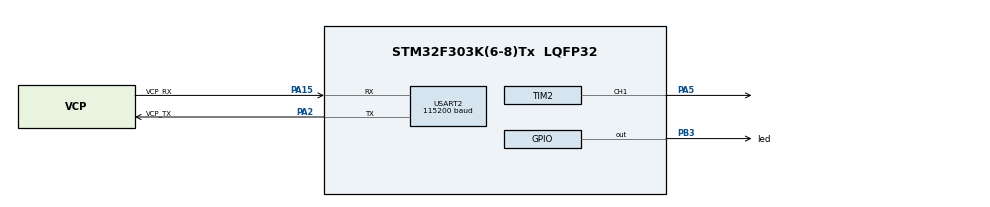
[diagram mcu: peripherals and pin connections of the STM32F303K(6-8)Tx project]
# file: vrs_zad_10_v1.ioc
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Dma.Request0=USART2_RX
Dma.Request1=USART2_TX
Dma.USART2_RX.0.Direction=DMA_PERIPH_TO_MEMORY
Dma.USART2_RX.0.Instance=DMA1_Channel6
Dma.USART2_RX.0.MemDataAlignment=DMA_MDATAALIGN_BYTE
Dma.USART2_RX.0.MemInc=DMA_MINC_ENABLE
Dma.USART2_RX.0.Mode=DMA_NORMAL
Dma.USART2_RX.0.PeriphDataAlignment=DMA_PDATAALIGN_BYTE
Dma.USART2_RX.0.PeriphInc=DMA_PINC_DISABLE
Dma.USART2_RX.0.Priority=DMA_PRIORITY_LOW
Dma.USART2_TX.1.Direction=DMA_MEMORY_TO_PERIPH
Dma.USART2_TX.1.Instance=DMA1_Channel7
Dma.USART2_TX.1.MemDataAlignment=DMA_MDATAALIGN_BYTE
Dma.USART2_TX.1.MemInc=DMA_MINC_ENABLE
Dma.USART2_TX.1.Mode=DMA_NORMAL
Dma.USART2_TX.1.PeriphDataAlignment=DMA_PDATAALIGN_BYTE
Dma.USART2_TX.1.PeriphInc=DMA_PINC_DISABLE
Dma.USART2_TX.1.Priority=DMA_PRIORITY_LOW
Mcu.Family=STM32F3
Mcu.Name=STM32F303K(6-8)Tx
Mcu.Package=LQFP32
NVIC.DMA1_Channel6_IRQn=true\:0\:0\:false\:false\:true\:false\:true
NVIC.DMA1_Channel7_IRQn=true\:0\:0\:false\:false\:true\:false\:true
NVIC.PriorityGroup=NVIC_PRIORITYGROUP_4
NVIC.TIM1_TRG_COM_TIM17_IRQn=true\:0\:0\:false\:false\:true\:true\:true
NVIC.TIM2_IRQn=true\:0\:0\:false\:false\:true\:true\:true
NVIC.USART2_IRQn=true\:0\:0\:false\:false\:true\:true\:true
PA13.GPIO_Label=SWDIO
PA13.Mode=Serial_Wire
PA13.Signal=SYS_JTMS-SWDIO
PA14.GPIO_Label=SWCLK
PA14.Mode=Serial_Wire
PA14.Signal=SYS_JTCK-SWCLK
PA15.GPIO_Label=VCP_RX
PA15.Mode=Asynchronous
PA15.Signal=USART2_RX
PA2.GPIO_Label=VCP_TX
PA2.Mode=Asynchronous
PA2.Signal=USART2_TX
PA5.Signal=S_TIM2_CH1_ETR
PB3.GPIO_Label=led
PB3.Signal=GPIO_Output
PF0\ /\ OSC_IN.GPIO_Label=MCO
PF0\ /\ OSC_IN.Mode=HSE-External-Clock-Source
PF0\ /\ OSC_IN.Signal=RCC_OSC_IN
ProjectManager.HeapSize=0x200
ProjectManager.StackSize=0x400
ProjectManager.TargetToolchain=STM32CubeIDE
RCC.AHBFreq_Value=8000000
RCC.APB1Freq_Value=8000000
RCC.APB2Freq_Value=8000000
RCC.CortexFreq_Value=8000000
RCC.HSE_VALUE=8000000
RCC.HSI_VALUE=8000000
RCC.SYSCLKFreq_VALUE=8000000
SH.S_TIM2_CH1_ETR.0=TIM2_CH1,PWM Generation1 CH1
TIM17.Period=999
TIM17.Prescaler=7999
TIM2.AutoReloadPreload=TIM_AUTORELOAD_PRELOAD_ENABLE
TIM2.Channel-PWM\ Generation1\ CH1=TIM_CHANNEL_1
TIM2.Period=99
TIM2.Prescaler=799
TIM2.Pulse-PWM\ Generation1\ CH1=50
USART2.BaudRate=115200
USART2.VirtualMode-Asynchronous=VM_ASYNC
VP_TIM17_VS_ClockSourceINT.Mode=Enable_Timer
VP_TIM2_VS_ClockSourceINT.Mode=Internal
board=NUCLEO-F303K8

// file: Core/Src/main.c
/* USER CODE BEGIN Header */
/**
  ******************************************************************************
  * @file           : main.c
  * @brief          : Main program body
  ******************************************************************************
  * @attention
  *
  * <h2><center>&copy; Copyright (c) 2020 STMicroelectronics.
  * All rights reserved.</center></h2>
  *
  * This software component is licensed by ST under BSD 3-Clause license,
  * the "License"; You may not use this file except in compliance with the
  * License. You may obtain a copy of the License at:
  *                        opensource.org/licenses/BSD-3-Clause
  *
  ******************************************************************************
  */
/* USER CODE END Header */
#include "main.h"

/* USER CODE BEGIN PV */
#define max_tx_buff_size 32
uint8_t tx_buff[max_tx_buff_size];
#define max_rx_buff_size 256
uint8_t rx_buff[max_rx_buff_size+1];
uint8_t temp_buff[20];
uint8_t* next_char=temp_buff;

uint8_t PWM_duty_cycle=0;
uint8_t PWM_duty_wish=0;

uint8_t mode = 0;
#define mode_1_sec 0x1
#define mode_rx_buff_full 0x2
#define mode_rx_buff_half 0x4
#define mode_rx_idle_read_data 0x8
#define mode_rx_half_was 0x10
#define mode_rx_full_was 0x20
#define mode_fade	0x40

uint8_t mode_2 = 0;
#define mode_2_manual 0x1
#define mode_2_auto 0x2
/* USER CODE END PV */

void SystemClock_Config(void);
static void MX_GPIO_Init(void);
static void MX_DMA_Init(void);
static void MX_USART2_UART_Init(void);
static void MX_TIM17_Init(void);
static void MX_TIM2_Init(void);

/* USER CODE BEGIN 0 */
void my_str_cpy(uint8_t *to,uint8_t *from, uint16_t *copied, uint16_t max_copied){
	uint16_t cnt;
	if (max_copied >=1)
		max_copied--;
	for (cnt=0;cnt<=255;cnt++)
	{
		*to=*from;
		if ((*from == '\0')||(cnt>=max_copied)){
			break;
		}
		else{
			to+=1;from+=1;
		}
	}
	*copied=cnt;
}

void inic_dma_tx(uint16_t length){
	  USART2->CR3 |= USART_CR3_DMAT; // set usart  TX with dma

	  DMA1_Channel7->CNDTR=length;// dma inic
	  DMA1_Channel7->CCR |= DMA_CCR_MINC | DMA_CCR_DIR | DMA_CCR_TCIE | DMA_CCR_CIRC;
	  DMA1_Channel7->CPAR=(uint32_t)&(USART2->TDR);
	  DMA1_Channel7->CMAR=(uint32_t)tx_buff;
}

void set_rx_dma_starting_point(uint16_t length){
	DMA1_Channel6->CCR &= ~DMA_CCR_EN;//stop listening
	DMA1_Channel6->CNDTR = length;
	DMA1_Channel6->CCR |= DMA_CCR_EN;//start listening
}

void inic_dma_rx_and_it_ilde(uint16_t length){
	  USART2->CR1 |=USART_CR1_IDLEIE;
	  NVIC_EnableIRQ(USART2_IRQn);

	  USART2->CR3 |= USART_CR3_DMAR; // set usart RX with dma
	  //DMA1_Channel6->CNDTR = length;
	  DMA1_Channel6->CCR |= DMA_CCR_PL_0 | DMA_CCR_MINC | DMA_CCR_HTIE | DMA_CCR_TCIE ;//| DMA_CCR_CIRC; //DMA_CCR_CIRC

	  DMA1_Channel6->CPAR=(uint32_t)&(USART2->RDR);
	  DMA1_Channel6->CMAR=(uint32_t)rx_buff;

	  set_rx_dma_starting_point(length);
	  //DMA1_Channel6->CCR |= DMA_CCR_EN;//start listening
}

void enable_dma_and_transmitt(uint16_t length){
	DMA1_Channel7->CCR &= ~DMA_CCR_EN;
	DMA1_Channel7->CNDTR=length;// dma inic
	DMA1_Channel7->CCR |= DMA_CCR_EN;	//start transmission

}

void start_tim17_with_IT(){
	  LL_TIM_EnableIT_UPDATE(TIM17);
	  TIM17->CR1 |= TIM_CR1_CEN; // start timer
}

void write_to_tx_buf_number(uint8_t *str,uint8_t num){
	uint8_t cnt=0;
	while(num>=10){
		cnt++;num-=10;
	}
	*str='0'+cnt;
	str+=1;
	*str='0'+num;
}

void tim_17_1_sec_delay(void){
	uint16_t temp;
	if (mode_2 & mode_2_manual){
		my_str_cpy(tx_buff,(uint8_t *)"1 sec delay: PWM: xx MAN\r",&temp,max_tx_buff_size);
	}
	if (mode_2 & mode_2_auto){
		my_str_cpy(tx_buff,(uint8_t *)"1 sec delay: PWM: xx AUTO\r",&temp,max_tx_buff_size);
	}
	write_to_tx_buf_number(&tx_buff[18],PWM_duty_cycle);

	enable_dma_and_transmitt(temp);
}

uint8_t my_str_cmp(uint8_t *str1, uint8_t *str2, uint8_t max){
	uint8_t cnt;
	for(cnt=0;cnt<=max;cnt++){
		if (*str1 != *str2)
			{return(0);}
		str1+=1;str2+=1;
	}
	return(255);
}

void setDutyCycle(uint8_t D){
	if ((D>=0) &&(D<=99)){
		PWM_duty_cycle=D;
		// to do: add to tim2->crr1
		TIM2->CCR1 = D;
	}

}

void test_input_data(uint16_t from, uint16_t to,uint8_t reset_dma){
	uint16_t cnt;
	uint8_t temp,temp_2;
	for(cnt=from;cnt<=to;cnt++){
		if (rx_buff[cnt] == '$'){
					temp=rx_buff[cnt+1];
					switch (temp){
						case 'm': {
							if (my_str_cmp(&rx_buff[cnt+2] , (uint8_t *)"anual$", 5)){
								mode_2 |= mode_2_manual;
								mode_2 &= ~mode_2_auto;
							}
							break;}
						case 'a': {
							if (my_str_cmp(&rx_buff[cnt+2] , (uint8_t *)"uto$", 3)){
								mode_2 |= mode_2_auto;
								mode_2 &= ~mode_2_manual;
							}
							break;}
						case 'P': {
							// only manual can chande pwm duty cycle
							if(mode_2 & mode_2_manual){
								if ((rx_buff[cnt+2] == 'W')&&(rx_buff[cnt+3] == 'M')&&(rx_buff[cnt+6] == '$')){
									temp=rx_buff[cnt+4];
									if ((temp <= '9')&&(temp >= '0')){
										temp_2=rx_buff[cnt+5];
										if ((temp_2 <= '9')&&(temp_2 >= '0')){
											temp-='0';
											temp_2-='0';
											//setDutyCycle(10*temp+temp_2);
											PWM_duty_wish=10*temp+temp_2;
										}
									}

								}
							}
							break;}
					}
				}
	}
	if(reset_dma){
		set_rx_dma_starting_point(max_rx_buff_size);
	}
}

void test_data(void){
	uint32_t dma_cnt;
	uint8_t *str,cnt;
	uint16_t copied;
	if ( ( (mode & mode_rx_full_was)==0x0 )&&( (mode & mode_rx_half_was)==0x0)&&(mode & mode_rx_idle_read_data) )
		{dma_cnt=max_rx_buff_size-DMA1_Channel6->CNDTR;
		 test_input_data(0,(uint8_t) dma_cnt,1);
		return;}
	if (mode & mode_rx_half_was){
		if ((mode & mode_rx_idle_read_data)==0){
			// arrived just half, we need to check all arrived data
			test_input_data(0,max_rx_buff_size>>1,0);
			// find '$' and copy
			str=&rx_buff[max_rx_buff_size>>1];
			for (cnt=0;cnt<=10;cnt++){
				if (*str=='$'){
					break;
				}
				str-=1;
			}
			// copy
			my_str_cpy(temp_buff,str, &copied, cnt);
			next_char=&temp_buff[cnt];

		}
		if (mode & mode_rx_idle_read_data){
			// half arrived, we need to check all arrived bytes

		}
	}
	if (mode & mode_rx_full_was){
		if(mode & mode_rx_idle_read_data){
			// to code: arrived 256 byte (tested 0:128) -> find '$' in
		}

	}
}

/* USER CODE END 0 */

int main(void)
{
  /* USER CODE BEGIN 1 */
	uint16_t temp;
	//uint32_t dma_cnt;
  /* USER CODE END 1 */

  /* MCU Configuration--------------------------------------------------------*/

  /* Reset of all peripherals, Initializes the Flash interface and the Systick. */

  LL_APB2_GRP1_EnableClock(LL_APB2_GRP1_PERIPH_SYSCFG);
  LL_APB1_GRP1_EnableClock(LL_APB1_GRP1_PERIPH_PWR);

  NVIC_SetPriorityGrouping(NVIC_PRIORITYGROUP_4);

  /* System interrupt init*/

  /* Configure the system clock */
  SystemClock_Config();

  /* Initialize all configured peripherals */
  MX_GPIO_Init();
  MX_DMA_Init();
  MX_USART2_UART_Init();
  MX_TIM17_Init();
  MX_TIM2_Init();
  /* USER CODE BEGIN 2 */
  my_str_cpy(tx_buff,(uint8_t *)"uC is ready\r",&temp,max_tx_buff_size);
  inic_dma_tx(temp);
  inic_dma_rx_and_it_ilde(max_rx_buff_size);
  enable_dma_and_transmitt(temp);

  start_tim17_with_IT();

  // pwm
  setDutyCycle(50);
  LL_TIM_CC_EnableChannel(TIM2, LL_TIM_CHANNEL_CH1);
  LL_TIM_EnableCounter(TIM2);
  LL_TIM_EnableIT_UPDATE(TIM2);
  NVIC_EnableIRQ(TIM2_IRQn);

  //LL_TIM_CC_EnableChannel(TIMx, Channels)

  /* USER CODE END 2 */

  /* Infinite loop */
  /* USER CODE BEGIN WHILE */
  mode=0;
  mode_2=0;
  mode_2 |= mode_2_auto;
  //mode_2 |= mode_2_manual;
  while (1)
  {
	  __WFI();
	  if(mode & mode_1_sec){
		  tim_17_1_sec_delay();
		  mode &= ~mode_1_sec;
	  }
	  if(mode & mode_rx_idle_read_data){
		  test_data();
		  //dma_cnt=max_rx_buff_size-DMA1_Channel6->CNDTR;
		  //test_input_data(0,(uint8_t) dma_cnt,1);
		  mode &= ~mode_rx_idle_read_data;
	  }
	  if(mode & mode_rx_buff_full){
		  mode |= mode_rx_full_was;
		  test_data();
		  // to code
		  //test_input_data(max_rx_buff_size>>1,(uint8_t) dma_cnt,1);

		  // maybe to code:[merge strings] find last '$'-> save from the last '$' to tempomary array ->
		  //	-> wait until data recieve WITH '$' -> find position of '$' in new array ->
		  //	-> merge tempomary array with new array[from 0 to position of '$'] -> and this need to be tested...

		  //tempomary code start
		  set_rx_dma_starting_point(max_rx_buff_size);
		  //tempomary code end
		  mode &=~ mode_rx_buff_full;
	  }
	  if (mode & mode_rx_buff_half){
		  mode |= mode_rx_half_was ;
		  test_data();
		  //test_input_data(0,(uint8_t) dma_cnt,0);
		  // we need to attach code with interrupt: not allways reading from 0, maybe we read from

		  // maybe to code:[merge strings] find last '$'-> save from the last '$' to tempomary array ->
		  //	-> wait until data recieve WITH '$' -> find position of '$' in new array ->
		  //	-> merge tempomary array with new array[from 0 to position of '$'] -> and this need to be tested...
	  }

    /* USER CODE END WHILE */

  }
}

void SystemClock_Config(void)
{
  LL_FLASH_SetLatency(LL_FLASH_LATENCY_0);
  while(LL_FLASH_GetLatency()!= LL_FLASH_LATENCY_0)
  {
  }
  LL_RCC_HSI_Enable();

   /* Wait till HSI is ready */
  while(LL_RCC_HSI_IsReady() != 1)
  {

  }
  LL_RCC_HSI_SetCalibTrimming(16);
  LL_RCC_SetAHBPrescaler(LL_RCC_SYSCLK_DIV_1);
  LL_RCC_SetAPB1Prescaler(LL_RCC_APB1_DIV_1);
  LL_RCC_SetAPB2Prescaler(LL_RCC_APB1_DIV_1);
  LL_RCC_SetSysClkSource(LL_RCC_SYS_CLKSOURCE_HSI);

   /* Wait till System clock is ready */
  while(LL_RCC_GetSysClkSource() != LL_RCC_SYS_CLKSOURCE_STATUS_HSI)
  {

  }
  LL_Init1msTick(8000000);
  LL_SetSystemCoreClock(8000000);
}

static void MX_TIM2_Init(void)
{

  LL_TIM_InitTypeDef TIM_InitStruct = {0};
  LL_TIM_OC_InitTypeDef TIM_OC_InitStruct = {0};

  LL_GPIO_InitTypeDef GPIO_InitStruct = {0};

  /* Peripheral clock enable */
  LL_APB1_GRP1_EnableClock(LL_APB1_GRP1_PERIPH_TIM2);

  /* TIM2 interrupt Init */
  NVIC_SetPriority(TIM2_IRQn, NVIC_EncodePriority(NVIC_GetPriorityGrouping(),0, 0));
  NVIC_EnableIRQ(TIM2_IRQn);

  TIM_InitStruct.Prescaler = 799;
  TIM_InitStruct.CounterMode = LL_TIM_COUNTERMODE_UP;
  TIM_InitStruct.Autoreload = 99;
  TIM_InitStruct.ClockDivision = LL_TIM_CLOCKDIVISION_DIV1;
  LL_TIM_Init(TIM2, &TIM_InitStruct);
  LL_TIM_EnableARRPreload(TIM2);
  LL_TIM_SetClockSource(TIM2, LL_TIM_CLOCKSOURCE_INTERNAL);
  LL_TIM_OC_EnablePreload(TIM2, LL_TIM_CHANNEL_CH1);
  TIM_OC_InitStruct.OCMode = LL_TIM_OCMODE_PWM1;
  TIM_OC_InitStruct.OCState = LL_TIM_OCSTATE_DISABLE;
  TIM_OC_InitStruct.OCNState = LL_TIM_OCSTATE_DISABLE;
  TIM_OC_InitStruct.CompareValue = 50;
  TIM_OC_InitStruct.OCPolarity = LL_TIM_OCPOLARITY_HIGH;
  LL_TIM_OC_Init(TIM2, LL_TIM_CHANNEL_CH1, &TIM_OC_InitStruct);
  LL_TIM_OC_DisableFast(TIM2, LL_TIM_CHANNEL_CH1);
  LL_TIM_SetTriggerOutput(TIM2, LL_TIM_TRGO_RESET);
  LL_TIM_DisableMasterSlaveMode(TIM2);
  LL_AHB1_GRP1_EnableClock(LL_AHB1_GRP1_PERIPH_GPIOA);
  /**TIM2 GPIO Configuration
  PA5   ------> TIM2_CH1
  */
  GPIO_InitStruct.Pin = LL_GPIO_PIN_5;
  GPIO_InitStruct.Mode = LL_GPIO_MODE_ALTERNATE;
  GPIO_InitStruct.Speed = LL_GPIO_SPEED_FREQ_LOW;
  GPIO_InitStruct.OutputType = LL_GPIO_OUTPUT_PUSHPULL;
  GPIO_InitStruct.Pull = LL_GPIO_PULL_NO;
  GPIO_InitStruct.Alternate = LL_GPIO_AF_1;
  LL_GPIO_Init(GPIOA, &GPIO_InitStruct);

}

static void MX_TIM17_Init(void)
{

  LL_TIM_InitTypeDef TIM_InitStruct = {0};

  /* Peripheral clock enable */
  LL_APB2_GRP1_EnableClock(LL_APB2_GRP1_PERIPH_TIM17);

  /* TIM17 interrupt Init */
  NVIC_SetPriority(TIM1_TRG_COM_TIM17_IRQn, NVIC_EncodePriority(NVIC_GetPriorityGrouping(),0, 0));
  NVIC_EnableIRQ(TIM1_TRG_COM_TIM17_IRQn);

  TIM_InitStruct.Prescaler = 7999;
  TIM_InitStruct.CounterMode = LL_TIM_COUNTERMODE_UP;
  TIM_InitStruct.Autoreload = 999;
  TIM_InitStruct.ClockDivision = LL_TIM_CLOCKDIVISION_DIV1;
  TIM_InitStruct.RepetitionCounter = 0;
  LL_TIM_Init(TIM17, &TIM_InitStruct);
  LL_TIM_DisableARRPreload(TIM17);

}

static void MX_USART2_UART_Init(void)
{

  LL_USART_InitTypeDef USART_InitStruct = {0};

  LL_GPIO_InitTypeDef GPIO_InitStruct = {0};

  /* Peripheral clock enable */
  LL_APB1_GRP1_EnableClock(LL_APB1_GRP1_PERIPH_USART2);

  LL_AHB1_GRP1_EnableClock(LL_AHB1_GRP1_PERIPH_GPIOA);
  /**USART2 GPIO Configuration
  PA2   ------> USART2_TX
  PA15   ------> USART2_RX
  */
  GPIO_InitStruct.Pin = VCP_TX_Pin|VCP_RX_Pin;
  GPIO_InitStruct.Mode = LL_GPIO_MODE_ALTERNATE;
  GPIO_InitStruct.Speed = LL_GPIO_SPEED_FREQ_HIGH;
  GPIO_InitStruct.OutputType = LL_GPIO_OUTPUT_PUSHPULL;
  GPIO_InitStruct.Pull = LL_GPIO_PULL_NO;
  GPIO_InitStruct.Alternate = LL_GPIO_AF_7;
  LL_GPIO_Init(GPIOA, &GPIO_InitStruct);

  /* USART2 DMA Init */

  /* USART2_RX Init */
  LL_DMA_SetDataTransferDirection(DMA1, LL_DMA_CHANNEL_6, LL_DMA_DIRECTION_PERIPH_TO_MEMORY);

  LL_DMA_SetChannelPriorityLevel(DMA1, LL_DMA_CHANNEL_6, LL_DMA_PRIORITY_LOW);

  LL_DMA_SetMode(DMA1, LL_DMA_CHANNEL_6, LL_DMA_MODE_NORMAL);

  LL_DMA_SetPeriphIncMode(DMA1, LL_DMA_CHANNEL_6, LL_DMA_PERIPH_NOINCREMENT);

  LL_DMA_SetMemoryIncMode(DMA1, LL_DMA_CHANNEL_6, LL_DMA_MEMORY_INCREMENT);

  LL_DMA_SetPeriphSize(DMA1, LL_DMA_CHANNEL_6, LL_DMA_PDATAALIGN_BYTE);

  LL_DMA_SetMemorySize(DMA1, LL_DMA_CHANNEL_6, LL_DMA_MDATAALIGN_BYTE);

  /* USART2_TX Init */
  LL_DMA_SetDataTransferDirection(DMA1, LL_DMA_CHANNEL_7, LL_DMA_DIRECTION_MEMORY_TO_PERIPH);

  LL_DMA_SetChannelPriorityLevel(DMA1, LL_DMA_CHANNEL_7, LL_DMA_PRIORITY_LOW);

  LL_DMA_SetMode(DMA1, LL_DMA_CHANNEL_7, LL_DMA_MODE_NORMAL);

  LL_DMA_SetPeriphIncMode(DMA1, LL_DMA_CHANNEL_7, LL_DMA_PERIPH_NOINCREMENT);

  LL_DMA_SetMemoryIncMode(DMA1, LL_DMA_CHANNEL_7, LL_DMA_MEMORY_INCREMENT);

  LL_DMA_SetPeriphSize(DMA1, LL_DMA_CHANNEL_7, LL_DMA_PDATAALIGN_BYTE);

  LL_DMA_SetMemorySize(DMA1, LL_DMA_CHANNEL_7, LL_DMA_MDATAALIGN_BYTE);

  /* USART2 interrupt Init */
  NVIC_SetPriority(USART2_IRQn, NVIC_EncodePriority(NVIC_GetPriorityGrouping(),0, 0));
  NVIC_EnableIRQ(USART2_IRQn);

  USART_InitStruct.BaudRate = 115200;
  USART_InitStruct.DataWidth = LL_USART_DATAWIDTH_8B;
  USART_InitStruct.StopBits = LL_USART_STOPBITS_1;
  USART_InitStruct.Parity = LL_USART_PARITY_NONE;
  USART_InitStruct.TransferDirection = LL_USART_DIRECTION_TX_RX;
  USART_InitStruct.HardwareFlowControl = LL_USART_HWCONTROL_NONE;
  USART_InitStruct.OverSampling = LL_USART_OVERSAMPLING_16;
  LL_USART_Init(USART2, &USART_InitStruct);
  LL_USART_DisableIT_CTS(USART2);
  LL_USART_ConfigAsyncMode(USART2);
  LL_USART_Enable(USART2);

}

static void MX_DMA_Init(void)
{

  /* Init with LL driver */
  /* DMA controller clock enable */
  LL_AHB1_GRP1_EnableClock(LL_AHB1_GRP1_PERIPH_DMA1);

  /* DMA interrupt init */
  /* DMA1_Channel6_IRQn interrupt configuration */
  NVIC_SetPriority(DMA1_Channel6_IRQn, NVIC_EncodePriority(NVIC_GetPriorityGrouping(),0, 0));
  NVIC_EnableIRQ(DMA1_Channel6_IRQn);
  /* DMA1_Channel7_IRQn interrupt configuration */
  NVIC_SetPriority(DMA1_Channel7_IRQn, NVIC_EncodePriority(NVIC_GetPriorityGrouping(),0, 0));
  NVIC_EnableIRQ(DMA1_Channel7_IRQn);

}

static void MX_GPIO_Init(void)
{
  LL_GPIO_InitTypeDef GPIO_InitStruct = {0};

  /* GPIO Ports Clock Enable */
  LL_AHB1_GRP1_EnableClock(LL_AHB1_GRP1_PERIPH_GPIOF);
  LL_AHB1_GRP1_EnableClock(LL_AHB1_GRP1_PERIPH_GPIOA);
  LL_AHB1_GRP1_EnableClock(LL_AHB1_GRP1_PERIPH_GPIOB);

  /**/
  LL_GPIO_ResetOutputPin(led_GPIO_Port, led_Pin);

  /**/
  GPIO_InitStruct.Pin = led_Pin;
  GPIO_InitStruct.Mode = LL_GPIO_MODE_OUTPUT;
  GPIO_InitStruct.Speed = LL_GPIO_SPEED_FREQ_LOW;
  GPIO_InitStruct.OutputType = LL_GPIO_OUTPUT_PUSHPULL;
  GPIO_InitStruct.Pull = LL_GPIO_PULL_NO;
  LL_GPIO_Init(led_GPIO_Port, &GPIO_InitStruct);

}

void Error_Handler(void)
{
}

/************************ (C) COPYRIGHT STMicroelectronics *****END OF FILE****/
